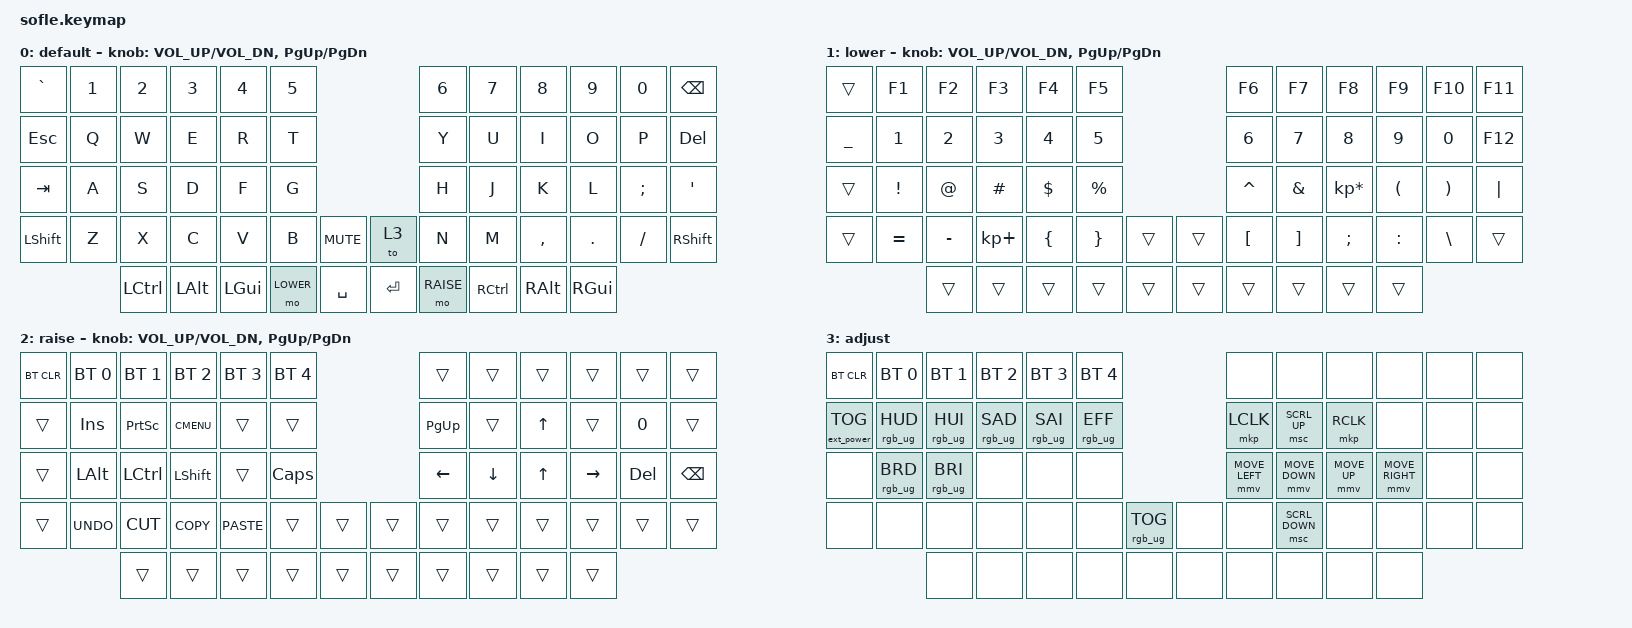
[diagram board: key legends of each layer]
/*
 * Copyright (c) 2020 The ZMK Contributors
 *
 * SPDX-License-Identifier: MIT
 */

#include <behaviors.dtsi>
#include <dt-bindings/zmk/bt.h>
#include <dt-bindings/zmk/ext_power.h>
#include <dt-bindings/zmk/keys.h>
#include <dt-bindings/zmk/pointing.h>
#include <dt-bindings/zmk/pointing.h>
#include <dt-bindings/zmk/pointing.h>
#include <dt-bindings/zmk/rgb.h>

#define BASE 0
#define LOWER 1
#define RAISE 2
#define ADJUST 3

/ {
    // Activate ADJUST layer by pressing raise and lower

    conditional_layers {
        compatible = "zmk,conditional-layers";

        adjust_layer {
            if-layers = <LOWER RAISE>;
            then-layer = <ADJUST>;
        };
    };

    combos {
        compatible = "zmk,combos";

        mouse_active {
            bindings = <&to 3>;
            key-positions = <53 56>;
        };
    };

    keymap {
        compatible = "zmk,keymap";

        default_layer {
            label = "default";

            // ------------------------------------------------------------------------------------------------------------
            // |   `   |  1  |  2  |  3   |  4   |  5   |                   |  6   |  7    |  8    |  9   |   0   |       |
            // |  ESC  |  Q  |  W  |  E   |  R   |  T   |                   |  Y   |  U    |  I    |  O   |   P   | BKSPC |
            // |  TAB  |  A  |  S  |  D   |  F   |  G   |                   |  H   |  J    |  K    |  L   |   ;   |   '   |
            // | SHIFT |  Z  |  X  |  C   |  V   |  B   |  MUTE  |  |       |  N   |  M    |  ,    |  .   |   /   | SHIFT |
            //               | GUI | ALT  | CTRL | LOWER|  ENTER |  | SPACE | RAISE| CTRL  | ALT   | GUI  |

            bindings = <
&kp GRAVE  &kp N1  &kp N2     &kp N3    &kp N4    &kp N5                            &kp N6     &kp N7     &kp N8     &kp N9    &kp N0    &kp BACKSPACE
&kp ESC    &kp Q   &kp W      &kp E     &kp R     &kp T                             &kp Y      &kp U      &kp I      &kp O     &kp P     &kp DEL
&kp TAB    &kp A   &kp S      &kp D     &kp F     &kp G                             &kp H      &kp J      &kp K      &kp L     &kp SEMI  &kp SQT
&kp LSHFT  &kp Z   &kp X      &kp C     &kp V     &kp B      &kp C_MUTE    &to 3    &kp N      &kp M      &kp COMMA  &kp DOT   &kp FSLH  &kp RSHFT
                   &kp LCTRL  &kp LALT  &kp LGUI  &mo LOWER  &kp SPACE     &kp RET  &mo RAISE  &kp RCTRL  &kp RALT   &kp RGUI
            >;

            sensor-bindings = <&inc_dec_kp C_VOL_UP C_VOL_DN &inc_dec_kp PG_UP PG_DN>;
        };

        lower_layer {
            label = "lower";

            // TODO: Some binds are waiting for shifted keycode support.
            // ------------------------------------------------------------------------------------------------------------
            // |       |  F1 |  F2 |  F3  |  F4  |  F5  |                   |  F6  |  F7   |  F8   |  F9  |  F10  |  F11  |
            // |   `   |  1  |  2  |  3   |  4   |  5   |                   |  6   |  7    |  8    |  9   |   0   |  F12  |
            // |       |  !  |  @  |  #   |  $   |  %   |                   |  ^   |  &    |  *    |  (   |   )   |   |   |
            // |       |  =  |  -  |  +   |  {   |  }   |        |  |       |  [   |  ]    |  ;    |  :   |   \   |       |
            //               |     |      |      |      |        |  |       |      |       |       |      |

            bindings = <
&trans     &kp F1     &kp F2     &kp F3       &kp F4    &kp F5                       &kp F6     &kp F7    &kp F8           &kp F9     &kp F10   &kp F11
&kp UNDER  &kp N1     &kp N2     &kp N3       &kp N4    &kp N5                       &kp N6     &kp N7    &kp N8           &kp N9     &kp N0    &kp F12
&trans     &kp EXCL   &kp AT     &kp HASH     &kp DLLR  &kp PRCNT                    &kp CARET  &kp AMPS  &kp KP_MULTIPLY  &kp LPAR   &kp RPAR  &kp PIPE
&trans     &kp EQUAL  &kp MINUS  &kp KP_PLUS  &kp LBRC  &kp RBRC   &trans    &trans  &kp LBKT   &kp RBKT  &kp SEMI         &kp COLON  &kp BSLH  &trans
                      &trans     &trans       &trans    &trans     &trans    &trans  &trans     &trans    &trans           &trans
            >;

            sensor-bindings = <&inc_dec_kp C_VOL_UP C_VOL_DN &inc_dec_kp PG_UP PG_DN>;
        };

        raise_layer {
            label = "raise";

            // ------------------------------------------------------------------------------------------------------------
            // | BTCLR | BT1  | BT2  |  BT3  |  BT4  |  BT5 |                |      |      |       |      |       |       |
            // |       | INS  | PSCR | GUI   |       |      |                | PGUP |      |   ^   |      |       |       |
            // |       | ALT  | CTRL | SHIFT |       | CAPS |                | PGDN |   <- |   v   |  ->  |  DEL  | BKSPC |
            // |       | UNDO | CUT  | COPY  | PASTE |      |      |  |      |      |      |       |      |       |       |
            //                |      |       |       |      |      |  |      |      |      |       |      |

            bindings = <
&bt BT_CLR  &bt BT_SEL 0  &bt BT_SEL 1  &bt BT_SEL 2  &bt BT_SEL 3  &bt BT_SEL 4                    &trans     &trans    &trans  &trans     &trans   &trans
&trans      &kp INS       &kp PSCRN     &kp K_CMENU   &trans        &trans                          &kp PG_UP  &trans    &kp UP  &trans     &kp N0   &trans
&trans      &kp LALT      &kp LCTRL     &kp LSHFT     &trans        &kp CLCK                        &kp LEFT   &kp DOWN  &kp UP  &kp RIGHT  &kp DEL  &kp BSPC
&trans      &kp K_UNDO    &kp K_CUT     &kp K_COPY    &kp K_PASTE   &trans        &trans    &trans  &trans     &trans    &trans  &trans     &trans   &trans
                          &trans        &trans        &trans        &trans        &trans    &trans  &trans     &trans    &trans  &trans
            >;

            sensor-bindings = <&inc_dec_kp C_VOL_UP C_VOL_DN &inc_dec_kp PG_UP PG_DN>;
        };

        adjust_layer {
            // ----------------------------------------------------------------------------------------------------------------------------
            // | BTCLR  |  BT1    |  BT2    |   BT3   |   BT4   |   BT5   |                  |      |      |       |      |       |       |
            // | EXTPWR | RGB_HUD | RGB_HUI | RGB_SAD | RGB_SAI | RGB_EFF |                  |      |      |       |      |       |       |
            // |        | RGB_BRD | RGB_BRI |         |         |         |                  |      |      |       |      |       |       |
            // |        |         |         |         |         |         | RGB_TOG | |      |      |      |       |      |       |       |
            //                    |         |         |         |         |         | |      |      |      |       |      |

            label = "adjust";
            bindings = <
&bt BT_CLR         &bt BT_SEL 0     &bt BT_SEL 1     &bt BT_SEL 2     &bt BT_SEL 3     &bt BT_SEL 4                               &none           &none           &none         &none            &none  &none
&ext_power EP_TOG  &rgb_ug RGB_HUD  &rgb_ug RGB_HUI  &rgb_ug RGB_SAD  &rgb_ug RGB_SAI  &rgb_ug RGB_EFF                            &mkp LCLK       &msc SCRL_UP    &mkp RCLK     &none            &none  &none
&none              &rgb_ug RGB_BRD  &rgb_ug RGB_BRI  &none            &none            &none                                      &mmv MOVE_LEFT  &mmv MOVE_DOWN  &mmv MOVE_UP  &mmv MOVE_RIGHT  &none  &none
&none              &none            &none            &none            &none            &none            &rgb_ug RGB_TOG    &none  &none           &msc SCRL_DOWN  &none         &none            &none  &none
                                    &none            &none            &none            &none            &none              &none  &none           &none           &none         &none
            >;
        };
    };
};
